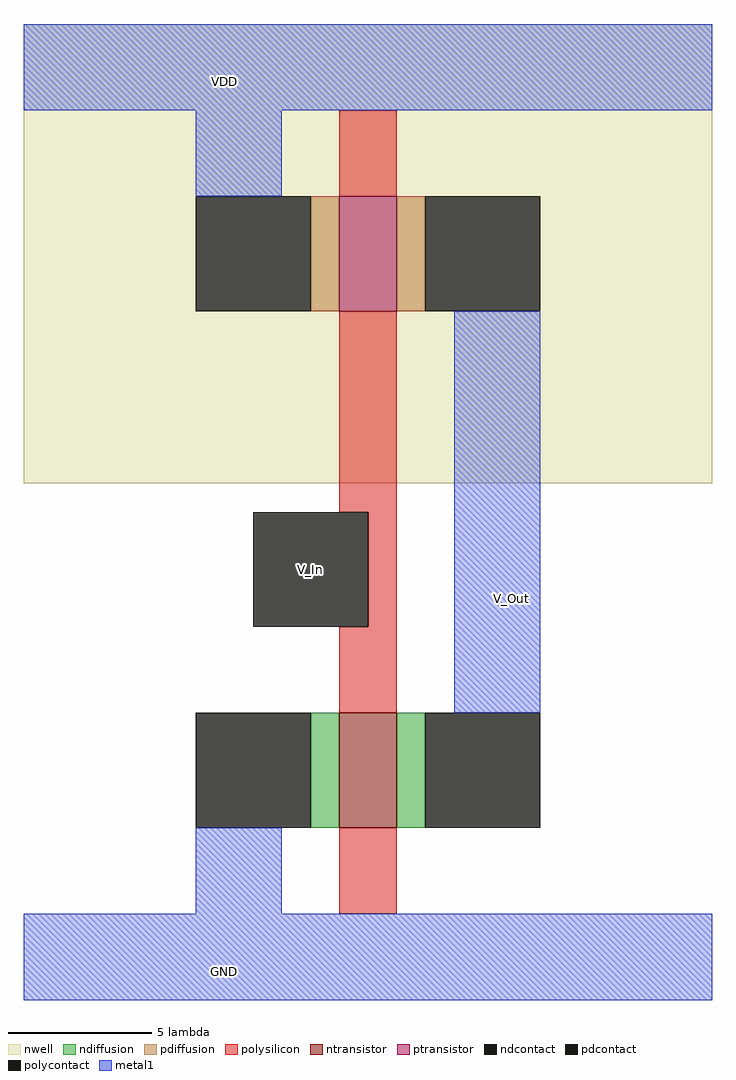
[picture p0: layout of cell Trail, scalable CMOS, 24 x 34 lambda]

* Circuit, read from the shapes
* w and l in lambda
.subckt Trail GND VDD V_In V_Out
M1 V_Out V_In GND VSUBS nfet w=4 l=2
M2 V_Out V_In VDD n1 pfet w=4 l=2
.ends

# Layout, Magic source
magic
tech scmos
<< nwell >>
rect -6 10 18 26
<< ntransistor >>
rect 5 -2 7 2
<< ptransistor >>
rect 5 16 7 20
<< ndiffusion >>
rect 4 -2 5 2
rect 7 -2 8 2
<< pdiffusion >>
rect 4 16 5 20
rect 7 16 8 20
<< ndcontact >>
rect 0 -2 4 2
rect 8 -2 12 2
<< pdcontact >>
rect 0 16 4 20
rect 8 16 12 20
<< polysilicon >>
rect 5 20 7 23
rect 5 9 7 16
rect 6 5 7 9
rect 5 2 7 5
rect 5 -5 7 -2
<< polycontact >>
rect 2 5 6 9
<< metal1 >>
rect -6 23 18 26
rect 0 20 3 23
rect 9 2 12 16
rect 0 -5 3 -2
rect -6 -8 18 -5
<< labels >>
rlabel metal1 11 6 11 6 1 V_Out
rlabel polycontact 4 7 4 7 1 V_In
rlabel metal1 1 24 1 24 5 VDD
rlabel metal1 1 -7 1 -7 1 GND
<< end >>
